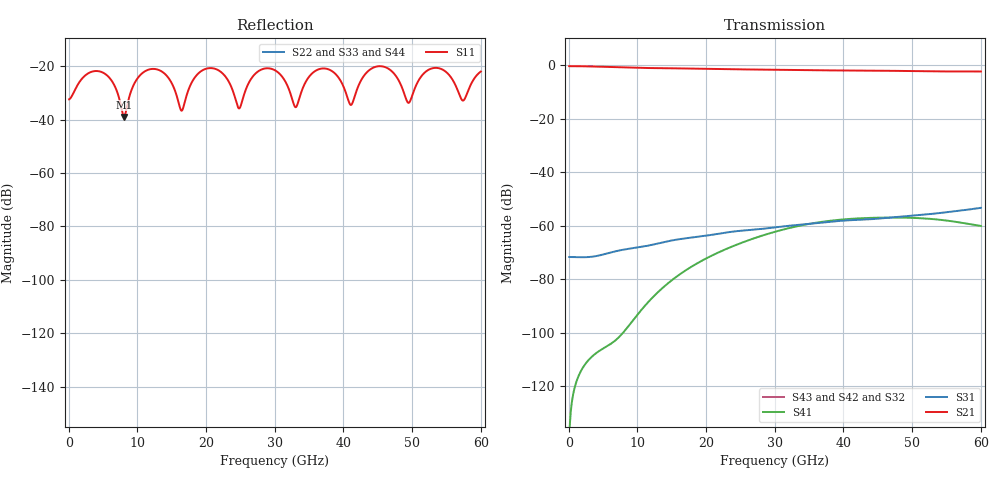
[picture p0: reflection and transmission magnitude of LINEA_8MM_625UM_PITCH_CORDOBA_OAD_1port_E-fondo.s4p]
! TOUCHSTONE file generated by CST MICROWAVE STUDIO
! Date and time: Mon Nov  2 09:16:39 2026
! Project name: LINEA_8MM_625UM_PITCH_CORDOBA_OAD_1port_E-fondo.cst
! Parameters = {CHANNEL_PITCH=0.625; GAP=0.00415; L=8; L1=0.02; L2=0.086; L3=0.066; NCELL=1; PITCH=0.18; START_POSITION=0.13; W1=0.003; W2=0.004; W3=0.009; WG=0.04985; gap_oxr=0.00125; linbo3_thickness=0.0002; mtx=0.002; oxiDinE=0.0014; w=0.185; ws=0.035}
! Header version: 2024
! Port assignment regex: !\s*Touchstone port\s*([0-9]+)\s*=\s*(CST MWS port|CST DES external port|CST DES block port)\s*(.+)\s* \(\"(.*)\"\)(\s*mode\s*([0-9]+))?.*
! Touchstone port assignment:
! Touchstone port 1 = CST MWS port 1 ("")
! Touchstone port 2 = CST MWS port 2 ("")
! Touchstone port 3 = CST MWS port 3 ("")
! Touchstone port 4 = CST MWS port 4 ("")
# GHz S MA R 50
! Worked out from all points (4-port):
!   1000 points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, 60 MHz to 60 GHz, reference 50 ohm
!   strongest paths, dB at 60 MHz, 15.06 GHz, 30.06 GHz, 45.06 GHz, 60 GHz:
!     S21: -0.3, -1.1, -1.6, -1.9, -2.2
!     S31: -71.7, -65.5, -60.6, -57.4, -53.3
!     S41: -141.2, -80.3, -62.2, -57.0, -60.1
!     S43: -, -, -, -, -
!     S42: -, -, -, -, -
!     S32: -, -, -, -, -
!   lowest |S11| = -39.0 dB at 8.04 GHz (marker M1), VSWR 1.02, Z = 48.9 - j0.281 ohm
!   |S11| at or under -10 dB: start of sweep to end of sweep
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0.06  0.02398 -5.6  0 0.0  0 0.0  0 0.0
      0.9712 -1.3  0 0.0  0 0.0  0 0.0
      0.0002594 -2.9  0 0.0  0 0.0  0 0.0
      8.689e-08 -133.0  0 0.0  0 0.0  0 0.0
8.04  0.01123 -165.2  0 0.0  0 0.0  0 0.0
      0.9186 -176.2  0 0.0  0 0.0  0 0.0
      0.0003574 -31.1  0 0.0  0 0.0  0 0.0
      1.037e-05 -164.1  0 0.0  0 0.0  0 0.0
16.56  0.01523 -150.7  0 0.0  0 0.0  0 0.0
       0.8809 1.2  0 0.0  0 0.0  0 0.0
       0.0005703 -58.8  0 0.0  0 0.0  0 0.0
       0.0001332 39.3  0 0.0  0 0.0  0 0.0
24.66  0.01688 -178.1  0 0.0  0 0.0  0 0.0
       0.8471 -172.3  0 0.0  0 0.0  0 0.0
       0.0007953 -58.8  0 0.0  0 0.0  0 0.0
       0.0004519 -153.9  0 0.0  0 0.0  0 0.0
33.36  0.0204 -134.5  0 0.0  0 0.0  0 0.0
       0.8263 1.6  0 0.0  0 0.0  0 0.0
       0.001036 -85.3  0 0.0  0 0.0  0 0.0
       0.0009837 -8.4  0 0.0  0 0.0  0 0.0
41.34  0.02098 -134.6  0 0.0  0 0.0  0 0.0
       0.8037 -168.7  0 0.0  0 0.0  0 0.0
       0.001275 -80.1  0 0.0  0 0.0  0 0.0
       0.001352 151.5  0 0.0  0 0.0  0 0.0
60  0.07954 -126.3  0 0.0  0 0.0  0 0.0
    0.7724 151.6  0 0.0  0 0.0  0 0.0
    0.002161 143.7  0 0.0  0 0.0  0 0.0
    0.0009905 71.0  0 0.0  0 0.0  0 0.0
